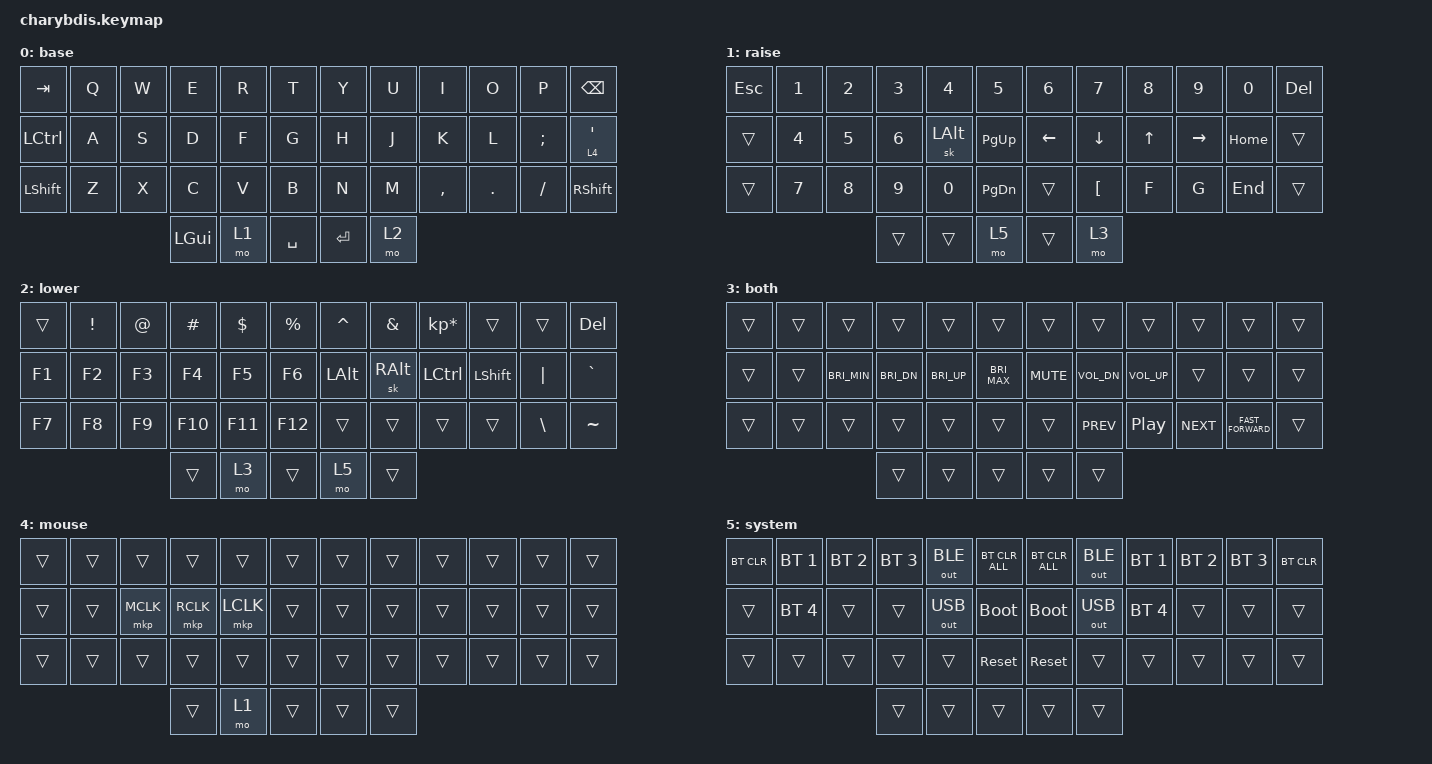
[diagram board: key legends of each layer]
#include <behaviors.dtsi>
#include <dt-bindings/zmk/mouse.h>
#include <dt-bindings/zmk/bt.h>
#include <dt-bindings/zmk/keys.h>
#include <dt-bindings/zmk/outputs.h>
#include <dt-bindings/zmk/ext_power.h>

/ {
    trackball_listener {
        compatible = "zmk,input-behavior-listener";
        device = <&vtrackball>;
        layers = <0 2 3 4>;
        evt-type = <INPUT_EV_REL>;
        x-input-code = <INPUT_REL_X>;
        y-input-code = <INPUT_REL_Y>;
        scale-multiplier = <1>;
        scale-divisor = <1>;

        // toggale mouse layers on trackball movements
        // bindings = <&ib_toggle_layer 4>;
    };

    trackball_snipe_listener {
        compatible = "zmk,input-behavior-listener";
        device = <&vtrackball>;
        layers = <>;
        evt-type = <INPUT_EV_REL>;
        x-input-code = <INPUT_REL_X>;
        y-input-code = <INPUT_REL_Y>;
        scale-multiplier = <1>;
        scale-divisor = <1>;
    };

    trackball_scroll_listener {
        compatible = "zmk,input-behavior-listener";
        device = <&vtrackball>;
        layers = <1>;
        evt-type = <INPUT_EV_REL>;
        x-input-code = <INPUT_REL_MISC>;
        y-input-code = <INPUT_REL_WHEEL>;
        y-invert;
        bindings = <&ib_wheel_scaler 1 16>;
    };

    ib_wheel_scaler: ib_wheel_scaler {
        compatible = "zmk,input-behavior-scaler";
        #binding-cells = <2>;
        evt-type = <INPUT_EV_REL>;
        input-code = <INPUT_REL_WHEEL>;
    };

    ib_toggle_layer: ib_toggle_layer {
        compatible = "zmk,input-behavior-tog-layer";
        #binding-cells = <1>;
        time-to-live-ms = <750>;
    };

    combos {
        compatible = "zmk,combos";

        closing-square {
            bindings = <&kp RIGHT_BRACKET>;
            key-positions = <19 20>;
            timeout-ms = <30>;
        };

        closing-parenthesis {
            bindings = <&kp RIGHT_PARENTHESIS>;
            key-positions = <7 8>;
            timeout-ms = <30>;
        };

        closing-brace {
            bindings = <&kp RIGHT_BRACE>;
            key-positions = <31 32>;
            timeout-ms = <30>;
        };

        openning-square {
            bindings = <&kp LEFT_BRACKET>;
            key-positions = <16 15>;
            timeout-ms = <30>;
        };

        openning-parenthesis {
            bindings = <&kp LEFT_PARENTHESIS>;
            key-positions = <3 4>;
            timeout-ms = <30>;
        };

        openning-brace {
            bindings = <&kp LEFT_BRACE>;
            key-positions = <28 27>;
            timeout-ms = <30>;
        };

        plus-symbol {
            bindings = <&kp PLUS>;
            key-positions = <20 21>;
            timeout-ms = <30>;
        };

        equal-symbol {
            bindings = <&kp EQUAL>;
            key-positions = <32 33>;
            timeout-ms = <30>;
        };

        dash-symbol {
            bindings = <&kp MINUS>;
            key-positions = <14 15>;
            timeout-ms = <30>;
        };

        underscore-symbol {
            bindings = <&kp UNDERSCORE>;
            key-positions = <26 27>;
            timeout-ms = <30>;
        };

        dongle-reset-left {
            bindings = <&bootloader>;
            key-positions = <29 17>;
            layers = <5>;
            timeout-ms = <30>;
        };

        dongle-reset-right {
            bindings = <&bootloader>;
            key-positions = <18 30>;
            layers = <5>;
            timeout-ms = <30>;
        };
    };

    behaviors {
        lt: layer_tap {
            compatible = "zmk,behavior-hold-tap";
            #binding-cells = <2>;
            flavor = "balanced";
            tapping-term-ms = <240>;
            quick-tap-ms = <150>;
            bindings = <&mo>, <&kp>;
        };
    };

    keymap {
        compatible = "zmk,keymap";

        base {
            label = "base";
            bindings = <
&kp TAB    &kp Q  &kp W  &kp E     &kp R  &kp T        &kp Y    &kp U  &kp I      &kp O    &kp P     &kp BSPC
&kp LCTRL  &kp A  &kp S  &kp D     &kp F  &kp G        &kp H    &kp J  &kp K      &kp L    &kp SEMI  &lt 4 SQT
&kp LSHFT  &kp Z  &kp X  &kp C     &kp V  &kp B        &kp N    &kp M  &kp COMMA  &kp DOT  &kp FSLH  &kp RSHIFT
                         &kp LGUI  &mo 1  &kp SPACE    &kp RET  &mo 2
            >;
        };

        raise {
            label = "raise";
            bindings = <
&kp ESC  &kp N1  &kp N2  &kp N3  &kp N4        &kp N5       &kp N6    &kp N7    &kp N8  &kp N9     &kp N0    &kp DEL
&trans   &kp N4  &kp N5  &kp N6  &sk LEFT_ALT  &kp PG_UP    &kp LEFT  &kp DOWN  &kp UP  &kp RIGHT  &kp HOME  &trans
&trans   &kp N7  &kp N8  &kp N9  &kp N0        &kp PG_DN    &trans    &kp LBKT  &kp F   &kp G      &kp END   &trans
                         &trans  &trans        &mo 5        &trans    &mo 3
            >;
        };

        lower {
            label = "lower";
            bindings = <
&trans  &kp EXCL  &kp AT  &kp HASH  &kp DLLR  &kp PRCNT    &kp CARET     &kp AMPS       &kp KP_MULTIPLY  &trans          &trans         &kp DEL
&kp F1  &kp F2    &kp F3  &kp F4    &kp F5    &kp F6       &kp LEFT_ALT  &sk RIGHT_ALT  &kp LCTRL        &kp LEFT_SHIFT  &kp PIPE       &kp GRAVE
&kp F7  &kp F8    &kp F9  &kp F10   &kp F11   &kp F12      &trans        &trans         &trans           &trans          &kp BACKSLASH  &kp TILDE
                          &trans    &mo 3     &trans       &mo 5         &trans
            >;
        };

        both {
            label = "both";
            bindings = <
&trans  &trans  &trans         &trans        &trans        &trans           &trans      &trans        &trans            &trans      &trans              &trans
&trans  &trans  &kp C_BRI_MIN  &kp C_BRI_DN  &kp C_BRI_UP  &kp C_BRI_MAX    &kp C_MUTE  &kp C_VOL_DN  &kp C_VOL_UP      &trans      &trans              &trans
&trans  &trans  &trans         &trans        &trans        &trans           &trans      &kp C_PREV    &kp C_PLAY_PAUSE  &kp C_NEXT  &kp C_FAST_FORWARD  &trans
                               &trans        &trans        &trans           &trans      &trans
            >;
        };

        mouse {
            bindings = <
&trans  &trans  &trans     &trans     &trans     &trans    &trans  &trans  &trans  &trans  &trans  &trans
&trans  &trans  &mkp MCLK  &mkp RCLK  &mkp LCLK  &trans    &trans  &trans  &trans  &trans  &trans  &trans
&trans  &trans  &trans     &trans     &trans     &trans    &trans  &trans  &trans  &trans  &trans  &trans
                           &trans     &mo 1      &trans    &trans  &trans
            >;

            label = "mouse";
        };

        system {
            bindings = <
&bt BT_CLR  &bt BT_SEL 1  &bt BT_SEL 2  &bt BT_SEL 3  &out OUT_BLE  &bt BT_CLR_ALL    &bt BT_CLR_ALL  &out OUT_BLE  &bt BT_SEL 1  &bt BT_SEL 2  &bt BT_SEL 3  &bt BT_CLR
&trans      &bt BT_SEL 4  &trans        &trans        &out OUT_USB  &bootloader       &bootloader     &out OUT_USB  &bt BT_SEL 4  &trans        &trans        &trans
&trans      &trans        &trans        &trans        &trans        &sys_reset        &sys_reset      &trans        &trans        &trans        &trans        &trans
                                        &trans        &trans        &trans            &trans          &trans
            >;

            label = "system";
        };
    };
};
